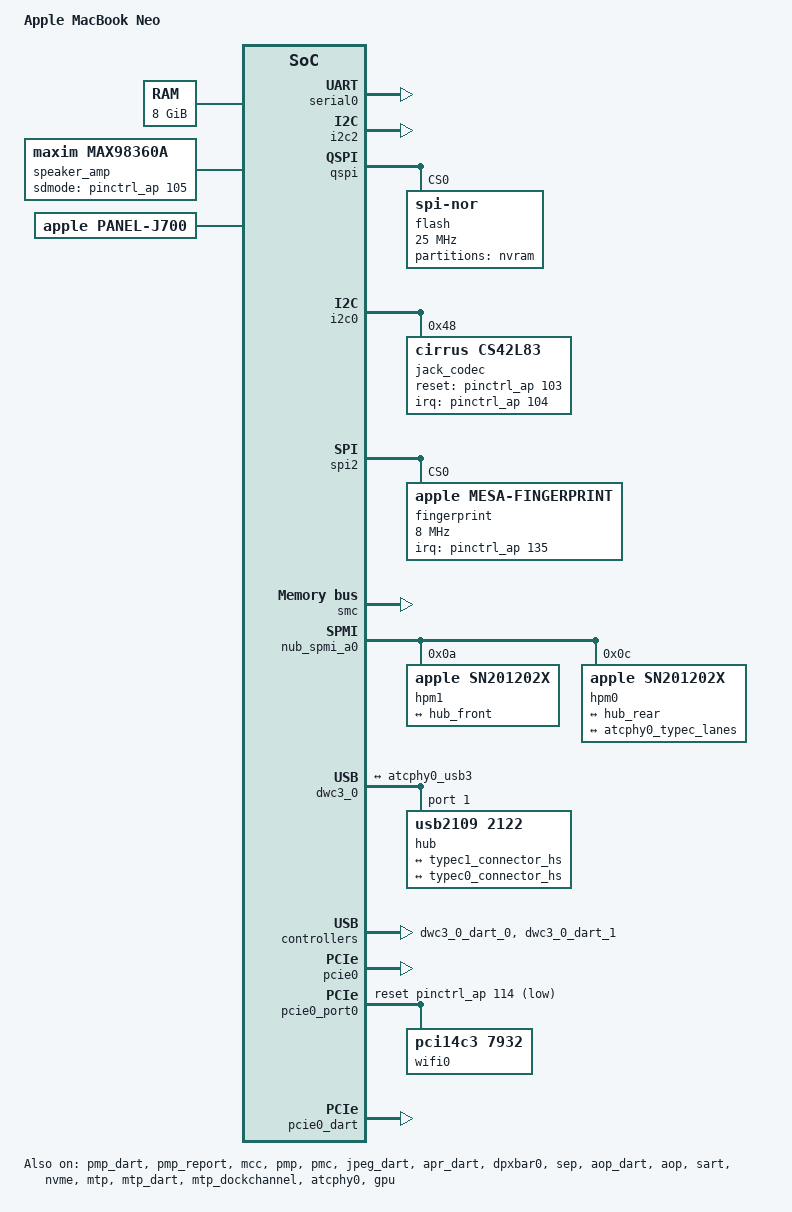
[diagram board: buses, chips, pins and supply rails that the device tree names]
// SPDX-License-Identifier: GPL-2.0+ OR MIT
/*
 * Apple MacBook Neo
 *
 * target-type: J700
 *
 * Copyright The Asahi Linux Contributors
 */

/dts-v1/;

#include "t8140.dtsi"
#include <dt-bindings/thermal/thermal.h>

/ {
	compatible = "apple,j700", "apple,t8140", "apple,arm-platform";
	model = "Apple MacBook Neo";

	aliases {
		nvram = &nvram;
		spi0 = &qspi;
		i2c2 = &i2c2;
		atcphy0 = &atcphy0;
		gpu = &gpu;
		keyboard = &keyboard;
		sep = &sep;
		serial0 = &serial0;
		pmp = &pmp;
		rtc0 = &smc_rtc;
		rtc1 = &pmu_rtc;
		wifi0 = &wifi0;
		/* used by the loader to hand over the display */
		dcp = &dcp;
		disp0 = &display;
		disp0-piodma = &disp0_piodma;
	};

	chosen {
		#address-cells = <2>;
		#size-cells = <2>;
		ranges;
		stdout-path = "serial0";
		/*
		 * Temporary: the secondary cores lose state in WFIT and the
		 * kernel does not yet stop using WFxT on T8140 by itself.
		 */
		bootargs = "arm64.nowfxt";

		framebuffer0: framebuffer@0 {
			compatible = "apple,simple-framebuffer", "simple-framebuffer";
			reg = <0 0 0 0>; /* To be filled by loader */
			power-domains = <&ps_disp_cpu>;
			/* Format properties will be added by loader */
			status = "disabled";
			panel = <&panel>;
			post-init-providers = <&panel>;
		};
	};

	reserved-memory {
		#address-cells = <2>;
		#size-cells = <2>;
		ranges;
		/* To be filled by loader */
	};

	memory@10000000000 {
		device_type = "memory";
		reg = <0x100 0 0x2 0>; /* To be filled by loader */
	};

	/*
	 * The J700 is fanless: the CPUs are the only cooling devices.  Every
	 * die sensor gets a zone that throttles both clusters, since they share
	 * one die and one heat spreader.  The power allocator splits the budget
	 * by the energy models, with the E cluster weighted three to one: its
	 * cores do several times more work per watt, so all-core loads keep
	 * them at full speed and trim the P cores instead.
	 *
	 * The SMC refreshes these readings about once a second and the die
	 * settles within that time, so the loop carries a full sample of delay,
	 * and the power a core draws per energy-model watt varies about 2.7x
	 * between integer and floating-point work.  The governor derives its
	 * gains from sustainable-power and the switch-on to control gap; 1.5 W
	 * over 37 C gives 40/81/8 mW per C, which held the clock within one
	 * P-state on both kinds of load (higher gains oscillate on the heavy
	 * one).  1.5 W lies inside the sustainable range measured at ~93 C:
	 * 1.1 W for floating-point and 2.5 W for integer loads.  The switch-on
	 * trip sits above the idle temperature with schedutil (48-53 C), so the
	 * controller, and with it any integral wind-up, resets whenever the
	 * machine rests.
	 *
	 * The governor grants no power to a cooling device that requests none,
	 * so above the switch-on trip an idle E cluster is sent to its lowest
	 * OPP, and work that wakes there runs at 816 MHz until the next
	 * evaluation.  With the performance governor the die idles at 58-70 C,
	 * above that trip, and in a ten-minute idle the E cluster spent 40% of
	 * its time capped this way.  The E maps therefore stop at cooling
	 * state 3, 1464 MHz, where the energy model puts the cost of the
	 * cluster's work within 0.5% of 816 MHz.  The lowest power of both
	 * clusters, 0.73 W, stays well under the 1.1 W sustainable on
	 * floating-point loads.
	 */
	thermal-zones {
		cpu-e0-thermal {
			polling-delay-passive = <500>;
			polling-delay = <500>;
			thermal-sensors = <&smc_hwmon 0>;	/* Te05 */
			sustainable-power = <1500>;

			trips {
				cpu_e0_alert: trip-alert {
					temperature = <58000>;
					hysteresis = <2000>;
					type = "passive";
				};

				cpu_e0_control: trip-control {
					temperature = <95000>;
					hysteresis = <2000>;
					type = "passive";
				};

				trip-critical {
					temperature = <110000>;
					hysteresis = <0>;
					type = "critical";
				};
			};

			cooling-maps {
				map0 {
					trip = <&cpu_e0_control>;
					cooling-device =
						<&cpu_p0 THERMAL_NO_LIMIT THERMAL_NO_LIMIT>,
						<&cpu_p1 THERMAL_NO_LIMIT THERMAL_NO_LIMIT>;
					contribution = <1024>;
				};

				map1 {
					trip = <&cpu_e0_control>;
					cooling-device =
						<&cpu_e0 THERMAL_NO_LIMIT 3>,
						<&cpu_e1 THERMAL_NO_LIMIT 3>,
						<&cpu_e2 THERMAL_NO_LIMIT 3>,
						<&cpu_e3 THERMAL_NO_LIMIT 3>;
					contribution = <3072>;
				};
			};
		};

		cpu-e1-thermal {
			polling-delay-passive = <500>;
			polling-delay = <500>;
			thermal-sensors = <&smc_hwmon 1>;	/* Te0S */
			sustainable-power = <1500>;

			trips {
				cpu_e1_alert: trip-alert {
					temperature = <58000>;
					hysteresis = <2000>;
					type = "passive";
				};

				cpu_e1_control: trip-control {
					temperature = <95000>;
					hysteresis = <2000>;
					type = "passive";
				};

				trip-critical {
					temperature = <110000>;
					hysteresis = <0>;
					type = "critical";
				};
			};

			cooling-maps {
				map0 {
					trip = <&cpu_e1_control>;
					cooling-device =
						<&cpu_p0 THERMAL_NO_LIMIT THERMAL_NO_LIMIT>,
						<&cpu_p1 THERMAL_NO_LIMIT THERMAL_NO_LIMIT>;
					contribution = <1024>;
				};

				map1 {
					trip = <&cpu_e1_control>;
					cooling-device =
						<&cpu_e0 THERMAL_NO_LIMIT 3>,
						<&cpu_e1 THERMAL_NO_LIMIT 3>,
						<&cpu_e2 THERMAL_NO_LIMIT 3>,
						<&cpu_e3 THERMAL_NO_LIMIT 3>;
					contribution = <3072>;
				};
			};
		};

		cpu-p0-thermal {
			polling-delay-passive = <500>;
			polling-delay = <500>;
			thermal-sensors = <&smc_hwmon 2>;	/* Tp01 */
			sustainable-power = <1500>;

			trips {
				cpu_p0_alert: trip-alert {
					temperature = <58000>;
					hysteresis = <2000>;
					type = "passive";
				};

				cpu_p0_control: trip-control {
					temperature = <95000>;
					hysteresis = <2000>;
					type = "passive";
				};

				trip-critical {
					temperature = <110000>;
					hysteresis = <0>;
					type = "critical";
				};
			};

			cooling-maps {
				map0 {
					trip = <&cpu_p0_control>;
					cooling-device =
						<&cpu_p0 THERMAL_NO_LIMIT THERMAL_NO_LIMIT>,
						<&cpu_p1 THERMAL_NO_LIMIT THERMAL_NO_LIMIT>;
					contribution = <1024>;
				};

				map1 {
					trip = <&cpu_p0_control>;
					cooling-device =
						<&cpu_e0 THERMAL_NO_LIMIT 3>,
						<&cpu_e1 THERMAL_NO_LIMIT 3>,
						<&cpu_e2 THERMAL_NO_LIMIT 3>,
						<&cpu_e3 THERMAL_NO_LIMIT 3>;
					contribution = <3072>;
				};
			};
		};

		cpu-p1-thermal {
			polling-delay-passive = <500>;
			polling-delay = <500>;
			thermal-sensors = <&smc_hwmon 3>;	/* Tp05 */
			sustainable-power = <1500>;

			trips {
				cpu_p1_alert: trip-alert {
					temperature = <58000>;
					hysteresis = <2000>;
					type = "passive";
				};

				cpu_p1_control: trip-control {
					temperature = <95000>;
					hysteresis = <2000>;
					type = "passive";
				};

				trip-critical {
					temperature = <110000>;
					hysteresis = <0>;
					type = "critical";
				};
			};

			cooling-maps {
				map0 {
					trip = <&cpu_p1_control>;
					cooling-device =
						<&cpu_p0 THERMAL_NO_LIMIT THERMAL_NO_LIMIT>,
						<&cpu_p1 THERMAL_NO_LIMIT THERMAL_NO_LIMIT>;
					contribution = <1024>;
				};

				map1 {
					trip = <&cpu_p1_control>;
					cooling-device =
						<&cpu_e0 THERMAL_NO_LIMIT 3>,
						<&cpu_e1 THERMAL_NO_LIMIT 3>,
						<&cpu_e2 THERMAL_NO_LIMIT 3>,
						<&cpu_e3 THERMAL_NO_LIMIT 3>;
					contribution = <3072>;
				};
			};
		};

		cpu-p2-thermal {
			polling-delay-passive = <500>;
			polling-delay = <500>;
			thermal-sensors = <&smc_hwmon 4>;	/* Tp09 */
			sustainable-power = <1500>;

			trips {
				cpu_p2_alert: trip-alert {
					temperature = <58000>;
					hysteresis = <2000>;
					type = "passive";
				};

				cpu_p2_control: trip-control {
					temperature = <95000>;
					hysteresis = <2000>;
					type = "passive";
				};

				trip-critical {
					temperature = <110000>;
					hysteresis = <0>;
					type = "critical";
				};
			};

			cooling-maps {
				map0 {
					trip = <&cpu_p2_control>;
					cooling-device =
						<&cpu_p0 THERMAL_NO_LIMIT THERMAL_NO_LIMIT>,
						<&cpu_p1 THERMAL_NO_LIMIT THERMAL_NO_LIMIT>;
					contribution = <1024>;
				};

				map1 {
					trip = <&cpu_p2_control>;
					cooling-device =
						<&cpu_e0 THERMAL_NO_LIMIT 3>,
						<&cpu_e1 THERMAL_NO_LIMIT 3>,
						<&cpu_e2 THERMAL_NO_LIMIT 3>,
						<&cpu_e3 THERMAL_NO_LIMIT 3>;
					contribution = <3072>;
				};
			};
		};

		cpu-p3-thermal {
			polling-delay-passive = <500>;
			polling-delay = <500>;
			thermal-sensors = <&smc_hwmon 5>;	/* Tp0D */
			sustainable-power = <1500>;

			trips {
				cpu_p3_alert: trip-alert {
					temperature = <58000>;
					hysteresis = <2000>;
					type = "passive";
				};

				cpu_p3_control: trip-control {
					temperature = <95000>;
					hysteresis = <2000>;
					type = "passive";
				};

				trip-critical {
					temperature = <110000>;
					hysteresis = <0>;
					type = "critical";
				};
			};

			cooling-maps {
				map0 {
					trip = <&cpu_p3_control>;
					cooling-device =
						<&cpu_p0 THERMAL_NO_LIMIT THERMAL_NO_LIMIT>,
						<&cpu_p1 THERMAL_NO_LIMIT THERMAL_NO_LIMIT>;
					contribution = <1024>;
				};

				map1 {
					trip = <&cpu_p3_control>;
					cooling-device =
						<&cpu_e0 THERMAL_NO_LIMIT 3>,
						<&cpu_e1 THERMAL_NO_LIMIT 3>,
						<&cpu_e2 THERMAL_NO_LIMIT 3>,
						<&cpu_e3 THERMAL_NO_LIMIT 3>;
					contribution = <3072>;
				};
			};
		};
	};
};

#include "isp-imx558.dtsi"

&serial0 {
	status = "okay";
};

&pmp_dart {
	status = "okay";
};

&pmp_mbox {
	status = "okay";
};

&pmp_report {
	status = "okay";
};

&mcc {
	status = "okay";
};

&pmp {
	status = "okay";
};

&pmc {
	/*
	 * System power above DCS state 0 at each DCS state, GPU-bound.
	 *
	 * No thermal zone limits the DCS rail: the PMP drops its DCS vote
	 * when the GPU idles, and a power allocator zone on Tp0t made the
	 * limit oscillate between states 1 and 4 under GPU load. Without
	 * it Tp0t stays below the 110 C critical trips of the CPU zones.
	 */
	apple,dcs-power-microwatt = <0 919000 1453000 2058000 2407000>;
	status = "okay";
};

&pinctrl_ap {
	status = "okay";
};

&jpeg_dart {
	status = "okay";
};

&apr_dart {
	status = "okay";
};

&i2c2 {
	status = "okay";
};

&qspi {
	status = "okay";

	flash@0 {
		compatible = "jedec,spi-nor";
		reg = <0>;
		spi-max-frequency = <25000000>;

		partitions {
			compatible = "fixed-partitions";
			#address-cells = <1>;
			#size-cells = <1>;

			nvram: partition@24000 {
				label = "nvram";
				reg = <0x24000 0x1d0000>;
			};
		};
	};
};

&dcp_mbox {
	status = "okay";
};

&dcp {
	/* 2408x1506 at 219 ppi; 525 nits peak from the backlight node */
	panel: panel {
		compatible = "apple,panel-j700", "apple,panel";
		width-mm = <279>;
		height-mm = <175>;
		apple,max-brightness = <525>;
	};
};

&dpxbar0 {
	status = "okay";
};

&cpuidle {
	status = "okay";
};

&i2c0 {
	status = "okay";

	jack_codec: codec@48 {
		compatible = "cirrus,cs42l83";
		reg = <0x48>;
		reset-gpios = <&pinctrl_ap 103 GPIO_ACTIVE_HIGH>;
		interrupt-parent = <&pinctrl_ap>;
		interrupts = <104 IRQ_TYPE_LEVEL_LOW>;
		#sound-dai-cells = <0>;
		cirrus,ts-inv = <1>;
		sound-name-prefix = "Jack";
	};
};

&sep {
	status = "okay";
};

/*
 * Touch ID sensor.  Its rails are switched by the SMC through the pcLD key
 * rather than by a GPIO; the rail words are given in power-on order.  The
 * calibration file is per-device factory data and is not redistributable.
 */
&spi2 {
	status = "okay";

	fingerprint@0 {
		compatible = "apple,mesa-fingerprint";
		reg = <0>;
		spi-max-frequency = <8000000>;
		spi-cpol;
		spi-cs-setup-delay-ns = <20>;
		spi-cs-hold-delay-ns = <20>;
		interrupt-parent = <&pinctrl_ap>;
		interrupts = <135 IRQ_TYPE_EDGE_RISING>;
		apple,smc = <&smc>;
		apple,smc-power-key = "pcLD";
		apple,smc-power-rails = <0x01010000 0x01020000>;
		firmware-name = "apple/mesacal-j700.bin";
	};
};

&isp {
	apple,platform-id = <0x70>;
	apple,temporal-filter = <1>;
};

&aop_dart {
	status = "okay";
};

&aop_mbox {
	status = "okay";
};

&aop_setup_mbox {
	status = "okay";
};

&aop {
	status = "okay";
};

&aop_als {
	firmware-name = "apple/j700-aop-als-cal.bin";
};

&aop_audio {
	apple,chassis-name = "J700";
	apple,machine-kind = "MacBook Neo";
};

&admac_leap_ns {
	status = "okay";
};

&admac_base_ns {
	status = "okay";
};

&admac_leap_s {
	status = "okay";
};

/ {
	speaker_amp: audio-amplifier {
		compatible = "maxim,max98360a";
		sdmode-gpios = <&pinctrl_ap 105 GPIO_ACTIVE_HIGH>;
		#sound-dai-cells = <0>;
		sound-name-prefix = "Speaker";
	};
	sound {
		compatible = "apple,j700-macaudio", "apple,macaudio";
		model = "MacBook Neo J700";
		#address-cells = <1>;
		#size-cells = <0>;

		dai-link@0 {
			reg = <0>;
			link-name = "Headphone Jack";

			cpu {
				sound-dai = <&aop_audio 0>;
			};
			codec {
				sound-dai = <&jack_codec>;
			};
		};

		dai-link@1 {
			reg = <1>;
			link-name = "Speaker";

			cpu {
				sound-dai = <&aop_audio 4>;
			};
			codec {
				sound-dai = <&speaker_amp>;
			};
		};
	};
};

&smc {
	status = "okay";
};

&smc_hwmon {
	/*
	 * Further channels, reported to userspace. They follow the six CPU
	 * die temperatures in t8140.dtsi, which the thermal zones above
	 * refer to by index.
	 * Every key below is in the J700 SMC's key table as a read-only
	 * float, reads 10-99 C and moves between samples. The names follow
	 * the SMC key groups and are not otherwise verified.
	 */

	/* Channel 6: reads at or above every CPU die sensor under GPU load. */
	temperature-Tp0t {
		apple,key-id = "Tp0t";
		label = "SMC Tp0t";
	};

	temperature-TH0p {
		apple,key-id = "TH0p";
		label = "Storage (NAND)";
	};

	temperature-TW0p {
		apple,key-id = "TW0p";
		label = "Wi-Fi Module";
	};

	temperature-TUCp {
		apple,key-id = "TUCp";
		label = "USB-C Port";
	};

	temperature-TaTp {
		apple,key-id = "TaTp";
		label = "Ambient";
	};

	temperature-TCMz {
		apple,key-id = "TCMz";
		label = "Charger";
	};

	temperature-Ts0A {
		apple,key-id = "Ts0A";
		label = "Chassis 1";
	};

	temperature-Ts0I {
		apple,key-id = "Ts0I";
		label = "Chassis 2";
	};

	temperature-Ts0M {
		apple,key-id = "Ts0M";
		label = "Chassis 3";
	};

	/* The remaining live temperature keys; placement unknown */
	temperature-TBLp {
		apple,key-id = "TBLp";
		label = "SMC TBLp";
	};

	temperature-TCMb {
		apple,key-id = "TCMb";
		label = "SMC TCMb";
	};

	temperature-TPD0 {
		apple,key-id = "TPD0";
		label = "SMC TPD0";
	};

	temperature-TPD1 {
		apple,key-id = "TPD1";
		label = "SMC TPD1";
	};

	temperature-TPD2 {
		apple,key-id = "TPD2";
		label = "SMC TPD2";
	};

	temperature-TPD3 {
		apple,key-id = "TPD3";
		label = "SMC TPD3";
	};

	temperature-TPD4 {
		apple,key-id = "TPD4";
		label = "SMC TPD4";
	};

	temperature-TPD5 {
		apple,key-id = "TPD5";
		label = "SMC TPD5";
	};

	temperature-TPD6 {
		apple,key-id = "TPD6";
		label = "SMC TPD6";
	};

	temperature-TR5p {
		apple,key-id = "TR5p";
		label = "SMC TR5p";
	};

	temperature-TRD0 {
		apple,key-id = "TRD0";
		label = "SMC TRD0";
	};

	temperature-TRD1 {
		apple,key-id = "TRD1";
		label = "SMC TRD1";
	};

	temperature-TRD2 {
		apple,key-id = "TRD2";
		label = "SMC TRD2";
	};

	temperature-TRD3 {
		apple,key-id = "TRD3";
		label = "SMC TRD3";
	};

	temperature-TS0p {
		apple,key-id = "TS0p";
		label = "SMC TS0p";
	};

	temperature-TS1p {
		apple,key-id = "TS1p";
		label = "SMC TS1p";
	};

	temperature-TTSp {
		apple,key-id = "TTSp";
		label = "SMC TTSp";
	};

	temperature-TVA0 {
		apple,key-id = "TVA0";
		label = "SMC TVA0";
	};

	temperature-TVA1 {
		apple,key-id = "TVA1";
		label = "SMC TVA1";
	};

	temperature-TVD0 {
		apple,key-id = "TVD0";
		label = "SMC TVD0";
	};

	temperature-TVMR {
		apple,key-id = "TVMR";
		label = "SMC TVMR";
	};

	temperature-TVS0 {
		apple,key-id = "TVS0";
		label = "SMC TVS0";
	};

	temperature-TVS1 {
		apple,key-id = "TVS1";
		label = "SMC TVS1";
	};

	temperature-TVS3 {
		apple,key-id = "TVS3";
		label = "SMC TVS3";
	};

	temperature-TVS4 {
		apple,key-id = "TVS4";
		label = "SMC TVS4";
	};

	temperature-TVmS {
		apple,key-id = "TVmS";
		label = "SMC TVmS";
	};

	temperature-Te04 {
		apple,key-id = "Te04";
		label = "SMC Te04";
	};

	temperature-Te06 {
		apple,key-id = "Te06";
		label = "SMC Te06";
	};

	temperature-Te0R {
		apple,key-id = "Te0R";
		label = "SMC Te0R";
	};

	temperature-Te0T {
		apple,key-id = "Te0T";
		label = "SMC Te0T";
	};

	temperature-Tex0 {
		apple,key-id = "Tex0";
		label = "SMC Tex0";
	};

	temperature-Tex1 {
		apple,key-id = "Tex1";
		label = "SMC Tex1";
	};

	temperature-Tex2 {
		apple,key-id = "Tex2";
		label = "SMC Tex2";
	};

	temperature-Tex3 {
		apple,key-id = "Tex3";
		label = "SMC Tex3";
	};

	temperature-Tp00 {
		apple,key-id = "Tp00";
		label = "SMC Tp00";
	};

	temperature-Tp02 {
		apple,key-id = "Tp02";
		label = "SMC Tp02";
	};

	temperature-Tp04 {
		apple,key-id = "Tp04";
		label = "SMC Tp04";
	};

	temperature-Tp06 {
		apple,key-id = "Tp06";
		label = "SMC Tp06";
	};

	temperature-Tp08 {
		apple,key-id = "Tp08";
		label = "SMC Tp08";
	};

	temperature-Tp0A {
		apple,key-id = "Tp0A";
		label = "SMC Tp0A";
	};

	temperature-Tp0C {
		apple,key-id = "Tp0C";
		label = "SMC Tp0C";
	};

	temperature-Tp0E {
		apple,key-id = "Tp0E";
		label = "SMC Tp0E";
	};

	temperature-Tp0l {
		apple,key-id = "Tp0l";
		label = "SMC Tp0l";
	};

	temperature-Tp0m {
		apple,key-id = "Tp0m";
		label = "SMC Tp0m";
	};

	temperature-Tp0n {
		apple,key-id = "Tp0n";
		label = "SMC Tp0n";
	};

	temperature-Tp0o {
		apple,key-id = "Tp0o";
		label = "SMC Tp0o";
	};

	temperature-Tp0q {
		apple,key-id = "Tp0q";
		label = "SMC Tp0q";
	};

	temperature-Tpx0 {
		apple,key-id = "Tpx0";
		label = "SMC Tpx0";
	};

	temperature-Tpx1 {
		apple,key-id = "Tpx1";
		label = "SMC Tpx1";
	};

	temperature-Tpx2 {
		apple,key-id = "Tpx2";
		label = "SMC Tpx2";
	};

	temperature-Tpx3 {
		apple,key-id = "Tpx3";
		label = "SMC Tpx3";
	};

	temperature-Ts00 {
		apple,key-id = "Ts00";
		label = "SMC Ts00";
	};

	temperature-Ts01 {
		apple,key-id = "Ts01";
		label = "SMC Ts01";
	};

	temperature-Ts02 {
		apple,key-id = "Ts02";
		label = "SMC Ts02";
	};

	temperature-Ts04 {
		apple,key-id = "Ts04";
		label = "SMC Ts04";
	};

	temperature-Ts05 {
		apple,key-id = "Ts05";
		label = "SMC Ts05";
	};

	temperature-Ts06 {
		apple,key-id = "Ts06";
		label = "SMC Ts06";
	};

	temperature-Ts08 {
		apple,key-id = "Ts08";
		label = "SMC Ts08";
	};

	temperature-Ts09 {
		apple,key-id = "Ts09";
		label = "SMC Ts09";
	};

	temperature-Ts0C {
		apple,key-id = "Ts0C";
		label = "SMC Ts0C";
	};

	temperature-Ts0D {
		apple,key-id = "Ts0D";
		label = "SMC Ts0D";
	};

	temperature-Ts0E {
		apple,key-id = "Ts0E";
		label = "SMC Ts0E";
	};

	temperature-Ts0G {
		apple,key-id = "Ts0G";
		label = "SMC Ts0G";
	};

	temperature-Ts0H {
		apple,key-id = "Ts0H";
		label = "SMC Ts0H";
	};

	temperature-Ts0K {
		apple,key-id = "Ts0K";
		label = "SMC Ts0K";
	};

	temperature-Ts0L {
		apple,key-id = "Ts0L";
		label = "SMC Ts0L";
	};

	temperature-Tsx0 {
		apple,key-id = "Tsx0";
		label = "SMC Tsx0";
	};

	temperature-Tsx1 {
		apple,key-id = "Tsx1";
		label = "SMC Tsx1";
	};

	/*
	 * Current, power and voltage rails: every other read-only float
	 * I*, P* and V* key in the J700 SMC's key table. The units follow
	 * the prefix (amperes, watts, volts); the rails they measure are not
	 * known, so they carry the raw key. Some read zero while idle.
	 */
	current-IBat {
		apple,key-id = "IBat";
		label = "SMC IBat";
	};

	current-IBws {
		apple,key-id = "IBws";
		label = "SMC IBws";
	};

	current-IP0b {
		apple,key-id = "IP0b";
		label = "SMC IP0b";
	};

	current-IP1b {
		apple,key-id = "IP1b";
		label = "SMC IP1b";
	};

	current-IP1l {
		apple,key-id = "IP1l";
		label = "SMC IP1l";
	};

	current-IP2b {
		apple,key-id = "IP2b";
		label = "SMC IP2b";
	};

	current-IP3b {
		apple,key-id = "IP3b";
		label = "SMC IP3b";
	};

	current-IP3l {
		apple,key-id = "IP3l";
		label = "SMC IP3l";
	};

	current-IP4b {
		apple,key-id = "IP4b";
		label = "SMC IP4b";
	};

	current-IP4l {
		apple,key-id = "IP4l";
		label = "SMC IP4l";
	};

	current-IP5b {
		apple,key-id = "IP5b";
		label = "SMC IP5b";
	};

	current-IP5l {
		apple,key-id = "IP5l";
		label = "SMC IP5l";
	};

	current-IP6b {
		apple,key-id = "IP6b";
		label = "SMC IP6b";
	};

	current-IP6l {
		apple,key-id = "IP6l";
		label = "SMC IP6l";
	};

	current-IP7b {
		apple,key-id = "IP7b";
		label = "SMC IP7b";
	};

	current-IP8b {
		apple,key-id = "IP8b";
		label = "SMC IP8b";
	};

	current-IP9l {
		apple,key-id = "IP9l";
		label = "SMC IP9l";
	};

	current-IPMC {
		apple,key-id = "IPMC";
		label = "SMC IPMC";
	};

	current-IPab {
		apple,key-id = "IPab";
		label = "SMC IPab";
	};

	current-IPbb {
		apple,key-id = "IPbb";
		label = "SMC IPbb";
	};

	current-IPbl {
		apple,key-id = "IPbl";
		label = "SMC IPbl";
	};

	current-IPcb {
		apple,key-id = "IPcb";
		label = "SMC IPcb";
	};

	current-IPcl {
		apple,key-id = "IPcl";
		label = "SMC IPcl";
	};

	current-IPdb {
		apple,key-id = "IPdb";
		label = "SMC IPdb";
	};

	current-IPgl {
		apple,key-id = "IPgl";
		label = "SMC IPgl";
	};

	current-IPhl {
		apple,key-id = "IPhl";
		label = "SMC IPhl";
	};

	current-IPil {
		apple,key-id = "IPil";
		label = "SMC IPil";
	};

	current-IR1l {
		apple,key-id = "IR1l";
		label = "SMC IR1l";
	};

	current-IR2l {
		apple,key-id = "IR2l";
		label = "SMC IR2l";
	};

	current-IRil {
		apple,key-id = "IRil";
		label = "SMC IRil";
	};

	current-Ib0f {
		apple,key-id = "Ib0f";
		label = "SMC Ib0f";
	};

	current-Ib1f {
		apple,key-id = "Ib1f";
		label = "SMC Ib1f";
	};

	power-PBat {
		apple,key-id = "PBat";
		label = "SMC PBat";
	};

	power-PBwo {
		apple,key-id = "PBwo";
		label = "SMC PBwo";
	};

	power-PDCP {
		apple,key-id = "PDCP";
		label = "SMC PDCP";
	};

	power-PDTP {
		apple,key-id = "PDTP";
		label = "SMC PDTP";
	};

	power-PP0b {
		apple,key-id = "PP0b";
		label = "SMC PP0b";
	};

	power-PP1b {
		apple,key-id = "PP1b";
		label = "SMC PP1b";
	};

	power-PP1l {
		apple,key-id = "PP1l";
		label = "SMC PP1l";
	};

	power-PP2b {
		apple,key-id = "PP2b";
		label = "SMC PP2b";
	};

	power-PP3b {
		apple,key-id = "PP3b";
		label = "SMC PP3b";
	};

	power-PP3l {
		apple,key-id = "PP3l";
		label = "SMC PP3l";
	};

	power-PP4b {
		apple,key-id = "PP4b";
		label = "SMC PP4b";
	};

	power-PP4l {
		apple,key-id = "PP4l";
		label = "SMC PP4l";
	};

	power-PP5b {
		apple,key-id = "PP5b";
		label = "SMC PP5b";
	};

	power-PP5l {
		apple,key-id = "PP5l";
		label = "SMC PP5l";
	};

	power-PP6b {
		apple,key-id = "PP6b";
		label = "SMC PP6b";
	};

	power-PP6l {
		apple,key-id = "PP6l";
		label = "SMC PP6l";
	};

	power-PP7b {
		apple,key-id = "PP7b";
		label = "SMC PP7b";
	};

	power-PP8b {
		apple,key-id = "PP8b";
		label = "SMC PP8b";
	};

	power-PP9l {
		apple,key-id = "PP9l";
		label = "SMC PP9l";
	};

	power-PPBR {
		apple,key-id = "PPBR";
		label = "SMC PPBR";
	};

	power-PPMC {
		apple,key-id = "PPMC";
		label = "SMC PPMC";
	};

	power-PPSM {
		apple,key-id = "PPSM";
		label = "SMC PPSM";
	};

	power-PPab {
		apple,key-id = "PPab";
		label = "SMC PPab";
	};

	power-PPbb {
		apple,key-id = "PPbb";
		label = "SMC PPbb";
	};

	power-PPbl {
		apple,key-id = "PPbl";
		label = "SMC PPbl";
	};

	power-PPcb {
		apple,key-id = "PPcb";
		label = "SMC PPcb";
	};

	power-PPcl {
		apple,key-id = "PPcl";
		label = "SMC PPcl";
	};

	power-PPdb {
		apple,key-id = "PPdb";
		label = "SMC PPdb";
	};

	power-PPgl {
		apple,key-id = "PPgl";
		label = "SMC PPgl";
	};

	power-PPhl {
		apple,key-id = "PPhl";
		label = "SMC PPhl";
	};

	power-PPil {
		apple,key-id = "PPil";
		label = "SMC PPil";
	};

	power-PR1l {
		apple,key-id = "PR1l";
		label = "SMC PR1l";
	};

	power-PR2l {
		apple,key-id = "PR2l";
		label = "SMC PR2l";
	};

	power-PRil {
		apple,key-id = "PRil";
		label = "SMC PRil";
	};

	power-PZC0 {
		apple,key-id = "PZC0";
		label = "SMC PZC0";
	};

	power-PZC1 {
		apple,key-id = "PZC1";
		label = "SMC PZC1";
	};

	power-PZCB {
		apple,key-id = "PZCB";
		label = "SMC PZCB";
	};

	power-PZCU {
		apple,key-id = "PZCU";
		label = "SMC PZCU";
	};

	power-PZD1 {
		apple,key-id = "PZD1";
		label = "SMC PZD1";
	};

	power-PZT0 {
		apple,key-id = "PZT0";
		label = "SMC PZT0";
	};

	power-Pb0f {
		apple,key-id = "Pb0f";
		label = "SMC Pb0f";
	};

	power-Pb1f {
		apple,key-id = "Pb1f";
		label = "SMC Pb1f";
	};

	power-Pb2f {
		apple,key-id = "Pb2f";
		label = "SMC Pb2f";
	};

	voltage-VBat {
		apple,key-id = "VBat";
		label = "SMC VBat";
	};

	voltage-VP0R {
		apple,key-id = "VP0R";
		label = "SMC VP0R";
	};

	voltage-VP0b {
		apple,key-id = "VP0b";
		label = "SMC VP0b";
	};

	voltage-VP0s {
		apple,key-id = "VP0s";
		label = "SMC VP0s";
	};

	voltage-VP1b {
		apple,key-id = "VP1b";
		label = "SMC VP1b";
	};

	voltage-VP1l {
		apple,key-id = "VP1l";
		label = "SMC VP1l";
	};

	voltage-VP1s {
		apple,key-id = "VP1s";
		label = "SMC VP1s";
	};

	voltage-VP2b {
		apple,key-id = "VP2b";
		label = "SMC VP2b";
	};

	voltage-VP3b {
		apple,key-id = "VP3b";
		label = "SMC VP3b";
	};

	voltage-VP3l {
		apple,key-id = "VP3l";
		label = "SMC VP3l";
	};

	voltage-VP3s {
		apple,key-id = "VP3s";
		label = "SMC VP3s";
	};

	voltage-VP4b {
		apple,key-id = "VP4b";
		label = "SMC VP4b";
	};

	voltage-VP4l {
		apple,key-id = "VP4l";
		label = "SMC VP4l";
	};

	voltage-VP4s {
		apple,key-id = "VP4s";
		label = "SMC VP4s";
	};

	voltage-VP5b {
		apple,key-id = "VP5b";
		label = "SMC VP5b";
	};

	voltage-VP5l {
		apple,key-id = "VP5l";
		label = "SMC VP5l";
	};

	voltage-VP5s {
		apple,key-id = "VP5s";
		label = "SMC VP5s";
	};

	voltage-VP6b {
		apple,key-id = "VP6b";
		label = "SMC VP6b";
	};

	voltage-VP6l {
		apple,key-id = "VP6l";
		label = "SMC VP6l";
	};

	voltage-VP7b {
		apple,key-id = "VP7b";
		label = "SMC VP7b";
	};

	voltage-VP8b {
		apple,key-id = "VP8b";
		label = "SMC VP8b";
	};

	voltage-VP9l {
		apple,key-id = "VP9l";
		label = "SMC VP9l";
	};

	voltage-VPBR {
		apple,key-id = "VPBR";
		label = "SMC VPBR";
	};

	voltage-VPab {
		apple,key-id = "VPab";
		label = "SMC VPab";
	};

	voltage-VPbb {
		apple,key-id = "VPbb";
		label = "SMC VPbb";
	};

	voltage-VPbl {
		apple,key-id = "VPbl";
		label = "SMC VPbl";
	};

	voltage-VPcb {
		apple,key-id = "VPcb";
		label = "SMC VPcb";
	};

	voltage-VPcl {
		apple,key-id = "VPcl";
		label = "SMC VPcl";
	};

	voltage-VPdb {
		apple,key-id = "VPdb";
		label = "SMC VPdb";
	};

	voltage-VPgl {
		apple,key-id = "VPgl";
		label = "SMC VPgl";
	};

	voltage-VPhl {
		apple,key-id = "VPhl";
		label = "SMC VPhl";
	};

	voltage-VPil {
		apple,key-id = "VPil";
		label = "SMC VPil";
	};

	voltage-VR1l {
		apple,key-id = "VR1l";
		label = "SMC VR1l";
	};

	voltage-VR2l {
		apple,key-id = "VR2l";
		label = "SMC VR2l";
	};

	voltage-VR5c {
		apple,key-id = "VR5c";
		label = "SMC VR5c";
	};

	voltage-VRbi {
		apple,key-id = "VRbi";
		label = "SMC VRbi";
	};

	voltage-VRil {
		apple,key-id = "VRil";
		label = "SMC VRil";
	};

	voltage-VRmi {
		apple,key-id = "VRmi";
		label = "SMC VRmi";
	};

	voltage-VRwo {
		apple,key-id = "VRwo";
		label = "SMC VRwo";
	};

	voltage-Vb1f {
		apple,key-id = "Vb1f";
		label = "SMC Vb1f";
	};

	voltage-Vb3f {
		apple,key-id = "Vb3f";
		label = "SMC Vb3f";
	};
};

&smc_mbox {
	status = "okay";
};

&ans_mbox {
	status = "okay";
};

&sart {
	status = "okay";
};

&nvme {
	status = "okay";
};

&mtp {
	status = "okay";
};

&mtp_mbox {
	status = "okay";
};

&mtp_dart {
	status = "okay";
};

&mtp_dockchannel {
	status = "okay";
};

&mtp_hid {
	apple,no-stm;
	/* SMC pcIO output 19; level 1 asserts the reset */
	apple,afe-reset-gpios = <&smc_gpio 19 GPIO_ACTIVE_HIGH>;

	multi-touch {
		compatible = "apple,j700-multitouch";
		firmware-name = "apple/tpmtfw-j700.bin";
		apple,power-method = <2>;
	};

	keyboard: keyboard {
		hid-country-code = <0>;
		apple,keyboard-layout-id = <0>;
	};
};

/* USB PD controllers, on the nub SPMI A0 bus */
&nub_spmi_a0 {
	status = "okay";

	hpm1: usb-pd@a {
		compatible = "apple,sn201202x";
		reg = <0xa SPMI_USID>;
		interrupts = <37 IRQ_TYPE_EDGE_RISING>,
			     <39 IRQ_TYPE_EDGE_RISING>,
			     <43 IRQ_TYPE_EDGE_RISING>,
			     <45 IRQ_TYPE_EDGE_RISING>;
		interrupt-names = "irq", "select", "sleep", "wake";

		typec1: connector {
			compatible = "usb-c-connector";
			label = "USB-C Left-front";
			power-role = "dual";
			data-role = "host";

			/* USB 2.0 only, through the fixed hub */
			port {
				typec1_connector_hs: endpoint {
					remote-endpoint = <&hub_front>;
				};
			};
		};
	};

	hpm0: usb-pd@c {
		compatible = "apple,sn201202x";
		reg = <0xc SPMI_USID>;
		interrupts = <11 IRQ_TYPE_EDGE_RISING>,
			     <13 IRQ_TYPE_EDGE_RISING>,
			     <17 IRQ_TYPE_EDGE_RISING>,
			     <19 IRQ_TYPE_EDGE_RISING>;
		interrupt-names = "irq", "select", "sleep", "wake";

		typec0: connector {
			compatible = "usb-c-connector";
			label = "USB-C Left-back";
			power-role = "dual";
			data-role = "host";

			ports {
				#address-cells = <1>;
				#size-cells = <0>;

				port@0 {
					reg = <0>;

					typec0_connector_hs: endpoint {
						remote-endpoint = <&hub_rear>;
					};
				};

				port@1 {
					reg = <1>;

					typec0_connector_ss: endpoint {
						remote-endpoint = <&atcphy0_typec_lanes>;
					};
				};
			};
		};
	};
};

/*
 * The controller's USB 2.0 pairs go to a VIA VL122 two-port hub on the
 * board (USB ID 2109:2122) whose downstream ports serve the two Type-C
 * connectors; only the back connector also has SuperSpeed lanes, wired
 * straight to the PHY. The controller is therefore always a host.
 */
&dwc3_0 {
	status = "okay";
	#address-cells = <1>;
	#size-cells = <0>;

	hub@1 {
		compatible = "usb2109,2122";
		reg = <1>;

		ports {
			#address-cells = <1>;
			#size-cells = <0>;

			port@1 {
				reg = <1>;

				hub_front: endpoint {
					remote-endpoint = <&typec1_connector_hs>;
				};
			};

			port@2 {
				reg = <2>;

				hub_rear: endpoint {
					remote-endpoint = <&typec0_connector_hs>;
				};
			};
		};
	};

	ports {
		#address-cells = <1>;
		#size-cells = <0>;

		port@1 {
			reg = <1>;

			dwc3_0_ss: endpoint {
				remote-endpoint = <&atcphy0_usb3>;
			};
		};
	};
};

&dwc3_0_dart_0 {
	status = "okay";
};

&dwc3_0_dart_1 {
	status = "okay";
};

&atcphy0 {
	status = "okay";

	ports {
		#address-cells = <1>;
		#size-cells = <0>;

		port@0 {
			reg = <0>;

			atcphy0_typec_lanes: endpoint {
				remote-endpoint = <&typec0_connector_ss>;
			};
		};

		port@1 {
			reg = <1>;

			atcphy0_usb3: endpoint {
				remote-endpoint = <&dwc3_0_ss>;
			};
		};
	};
};

&gfx_mbox {
	status = "okay";
};

&gfx1_mbox {
	status = "okay";
};

&gpu {
	status = "okay";
};

#include "hwmon-common.dtsi"
#include "hwmon-laptop.dtsi"

&pcie0 {
	/* The PIODMA guard stays closed until the retained bootstrap succeeds. */
	apple,piodma = <&pcie0_piodma_diag>;
	iommu-map = <0x100 &pcie0_dart 1 2>;
	iommu-map-mask = <0xffff>;
	pinctrl-0 = <&pcie0_clkreq>;
	pinctrl-names = "default";
	status = "okay";
};

&pcie0_port0 {
	reset-gpios = <&pinctrl_ap 114 GPIO_ACTIVE_LOW>;
	pwren-gpios = <&smc_gpio 8 GPIO_ACTIVE_HIGH>;
	max-link-speed = <2>;
	status = "okay";
};

&pinctrl_ap {
	pcie0_clkreq: pcie0-clkreq-pins {
		pinmux = <APPLE_PINMUX(101, 2)>;
	};
};

/* SID17 bootstrap; the arena stays owned until a full reset. */
&pcie0_dart {
	status = "okay";
	apple,dma-range = /bits/ 64 <0 0x1000000000>;
};

/ {
	pcie0_piodma_diag: piodma@390030000 {
		compatible = "apple,t8140-piodma-diagnostic";
		reg = <0x3 0x90030000 0x0 0x4000>,
		      <0x3 0x90034000 0x0 0x4000>,
		      <0x3 0x90038000 0x0 0x4000>;
		reg-names = "engine", "irq-aggregator", "fabric";
		interrupt-parent = <&aic>;
		interrupts = <AIC_IRQ 1207 IRQ_TYPE_LEVEL_HIGH>;
		power-domains = <&ps_apcie_gp>;
		iommus = <&pcie0_dart 17>;
		apple,pcie-host = <&pcie0>;
	};
};

&pcie0_port0 {
	bus-range = <1 1>;
	wifi0: wifi@0,0 {
		compatible = "pci14c3,7932";
		reg = <0x10000 0 0 0 0>;
		/* Public m1n1 supplies this device's address at boot. */
		local-mac-address = [00 00 00 00 00 00];
	};
};

/* The loader publishes external resources after validating their firmware. */
#include "t8140-j700-dcpext.dtsi"

&display {
	iommus = <&disp0_dart 0>, <&dispext0_dart 0>;
};

&dcpext {
	clocks = <&clk_disp0_154>, <&clk_disp0_194>;
	clock-names = "clock-154", "clock-194";
	phys = <&atcphy0 PHY_TYPE_DP>;
	phy-names = "typec0";
	mux-controls = <&dpxbar0 0>;
	mux-control-names = "typec0";
	apple,typec-mux-indices = <2>;
	apple,typec-dptx-phys = <0>;
	apple,dcp-index = <1>;
};

&{/soc/dcp@416e00000/typec-routes/route@0} {
	status = "okay";
};

/* Allocate scanout buffers in the window used by the inherited firmware. */
&dcpext0_dart {
	apple,dma-range = <0x100 0x0 0x10 0x0>;
};
